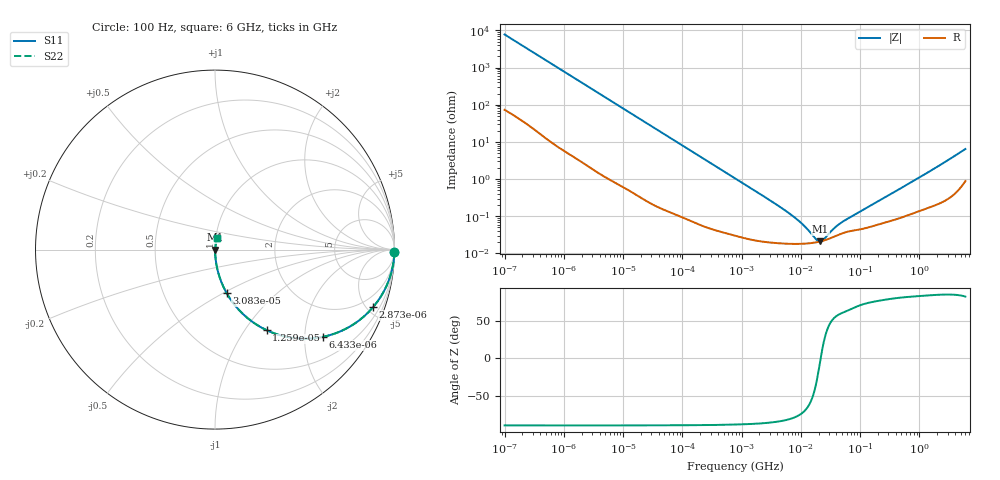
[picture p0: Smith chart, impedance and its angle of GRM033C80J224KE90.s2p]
!Murata Part Number: GRM033C80J224KE90
!These Parameters are Measured in Series Mode Connection
!Data Generated on Mar 30, 2021
!  o--ll--o
!Port1  Port2
!  o------o
!Operation Temp=25[degC], DC Bias Voltage=0[V]
!Freq. Start=100[Hz] Stop=6[GHz] 401[Steps]
# Hz S RI R 50
!Freq.(Hz) S11(Real) S11(Imag) S21(Real) S21(Imag) S12(Real) S12(Imag) S22(Real) S22(Imag)
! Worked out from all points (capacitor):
!   401 points, 100 Hz to 6 GHz, reference 50 ohm
!   read as one part in series: C = 204 nF near 109 Hz
!   lowest |Z| = 21.1 mohm at 21.28 MHz (marker M1)
!   series resonance near 21.68 MHz, so ESL is about 260 pH
!   S11 on the Smith chart (normalised r, x): 100 Hz: open; 2.873 kHz: 1.04, -5.51; 6.433 kHz: 1.02, -2.47; 12.59 kHz: 1.01, -1.26; 30.83 kHz: 1.00, -0.52; 6 GHz: 1.02, +0.13
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100  0.9997 -0.0129  0.000286 0.0129  0.000286 0.0129  0.9997 -0.0129
600  0.9936 -0.0758  0.00636 0.0758  0.00636 0.0758  0.9936 -0.0758
2008  0.9378 -0.2379  0.0622 0.2379  0.0622 0.2379  0.9378 -0.2379
2873  0.8818 -0.3194  0.1182 0.3194  0.1182 0.3194  0.8818 -0.3194
4299  0.771 -0.4166  0.229 0.4166  0.229 0.4166  0.771 -0.4166
6433  0.6029 -0.4857  0.3971 0.4857  0.3971 0.4857  0.6029 -0.4857
12592  0.2873 -0.4486  0.7127 0.4486  0.7127 0.4486  0.2873 -0.4486
19704  0.1429 -0.3461  0.8571 0.3461  0.8571 0.3461  0.1429 -0.3461
30832  0.0648 -0.242  0.9352 0.242  0.9352 0.242  0.0648 -0.242
40335  0.0394 -0.1903  0.9606 0.1903  0.9606 0.1903  0.0394 -0.1903
129199  0.00465 -0.062  0.9954 0.062  0.9954 0.062  0.00465 -0.062
774597  0.000411 -0.0105  0.9996 0.0105  0.9996 0.0105  0.000411 -0.0105
6353432  0.000183 -0.00119  0.9998 0.00119  0.9998 0.00119  0.000183 -0.00119
1.039699e7  0.000182 -0.000612  0.9998 0.000612  0.9998 0.000612  0.000182 -0.000612
1.555665e7  0.000192 -0.000256  0.9998 0.000256  0.9998 0.000256  0.000192 -0.000256
1.86079e7  0.000201 -0.000115  0.9998 0.000115  0.9998 0.000115  0.000201 -0.000115
2.128304e7  0.000211 -1.35e-05  0.9998 1.35e-05  0.9998 1.35e-05  0.000211 -1.35e-05
2.434276e7  0.000223 8.63e-05  0.9998 -8.63e-05  0.9998 -8.63e-05  0.000223 8.63e-05
3.64232e7  0.000282 0.000382  0.9997 -0.000382  0.9997 -0.000382  0.000282 0.000382
4.983056e7  0.000347 0.000609  0.9997 -0.000609  0.9997 -0.000609  0.000347 0.000609
3.124326e8  0.000744 0.0037  0.9993 -0.0037  0.9993 -0.0037  0.000744 0.0037
6e9  0.0128 0.0626  0.9872 -0.0626  0.9872 -0.0626  0.0128 0.0626
